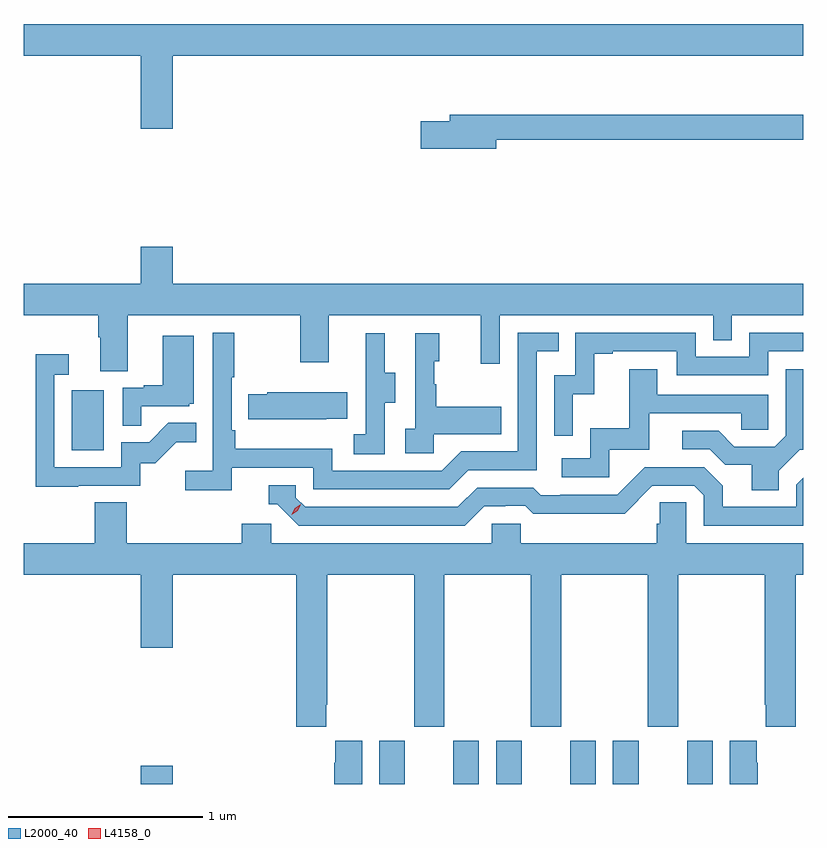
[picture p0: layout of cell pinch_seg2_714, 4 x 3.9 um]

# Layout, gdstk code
import gdstk
lib = gdstk.Library(unit=1e-6, precision=1e-09)
def R(c, l, rs):  # rectangles x0, y0, x1, y1
    for r in rs: c.add(gdstk.rectangle(r[:2], r[2:], *l))
def P(c, l, *ps):  # polygons
    for p in ps: c.add(gdstk.Polygon(p, *l))
L2000_40 = (2000, 40)
L4158_0 = (4158, 0)

pinch_seg2_714 = lib.new_cell('pinch_seg2_714')
R(pinch_seg2_714, L2000_40, [(1112.06,601.275,1112.224,601.369), (1113.284,601.275,1113.415,601.498), (1113.665,601.275,1113.796,601.498), (1113.884,601.275,1114.015,601.498), (1114.265,601.275,1114.396,601.498), (1114.484,601.275,1114.615,601.498), (1114.865,601.275,1114.996,601.498), (1111.706,602.988,1111.87,603.295)])
P(pinch_seg2_714, L2000_40, [(1112.224,605.012),(1115.46,605.012),(1115.46,605.176),(1111.46,605.176),(1111.46,605.012),(1112.06,605.012),(1112.06,604.638),(1112.224,604.638)],
  [(1113.886,604.582),(1115.46,604.582),(1115.46,604.711),(1113.647,604.711),(1113.647,604.677),(1113.498,604.677),(1113.498,604.535),(1113.886,604.535)],
  [(1111.993,603.68),(1112.878,603.68),(1112.878,603.441),(1113.025,603.441),(1113.025,603.68),(1113.806,603.68),(1113.806,603.432),(1113.903,603.432),(1113.903,603.68),(1114.998,603.68),(1114.998,603.553),(1115.094,603.553),(1115.094,603.68),(1115.46,603.68),(1115.46,603.844),(1112.224,603.844),(1112.224,604.033),(1112.06,604.033),(1112.06,603.844),(1111.46,603.844),(1111.46,603.68),(1111.841,603.68),(1111.841,603.568),(1111.853,603.568),(1111.853,603.394),(1111.993,603.394)],
  [(1112.528,602.898),(1112.946,602.898),(1112.946,602.787),(1113.643,602.787),(1113.742,602.886),(1114.092,602.886),(1114.092,603.495),(1114.205,603.495),(1114.205,603.591),(1113.996,603.591),(1113.996,602.982),(1113.705,602.982),(1113.606,602.883),(1113.042,602.883),(1113.042,602.995),(1112.546,602.995),(1112.546,603.091),(1112.526,603.091),(1112.526,603.364),(1112.539,603.364),(1112.539,603.592),(1112.43,603.592),(1112.43,602.884),(1112.289,602.884),(1112.289,602.782),(1112.528,602.782)],
  [(1114.278,603.275),(1114.388,603.275),(1114.388,603.483),(1114.483,603.483),(1114.483,603.495),(1114.812,603.495),(1114.812,603.372),(1115.28,603.372),(1115.28,603.495),(1115.46,603.495),(1115.46,603.591),(1115.184,603.591),(1115.184,603.468),(1114.908,603.468),(1114.908,603.591),(1114.29,603.591),(1114.29,603.372),(1114.182,603.372),(1114.182,603.063),(1114.278,603.063)],
  [(1113.564,603.071),(1113.911,603.071),(1113.911,603.211),(1113.577,603.211),(1113.577,603.326),(1113.567,603.326),(1113.567,603.444),(1113.592,603.444),(1113.592,603.589),(1113.468,603.589),(1113.468,603.098),(1113.417,603.098),(1113.417,602.973),(1113.564,602.973)],
  [(1113.312,603.232),(1113.367,603.232),(1113.367,603.387),(1113.313,603.387),(1113.313,603.589),(1113.215,603.589),(1113.215,603.375),(1113.216,603.375),(1113.216,603.071),(1113.153,603.071),(1113.153,602.968),(1113.312,602.968)],
  [(1112.063,603.213),(1112.31,603.213),(1112.31,603.228),(1112.332,603.228),(1112.332,603.577),(1112.174,603.577),(1112.174,603.322),(1112.075,603.322),(1112.075,603.309),(1111.968,603.309),(1111.968,603.115),(1112.063,603.115)],
  [(1111.739,602.805),(1112.058,602.805),(1112.058,602.922),(1112.134,602.922),(1112.241,603.029),(1112.345,603.029),(1112.345,603.128),(1112.201,603.128),(1112.103,603.03),(1111.959,603.03),(1111.959,602.901),(1111.617,602.901),(1111.617,603.375),(1111.69,603.375),(1111.69,603.481),(1111.521,603.481),(1111.521,602.8),(1111.739,602.8)],
  [(1114.464,602.991),(1114.669,602.991),(1114.669,603.177),(1115.143,603.177),(1115.143,603.093),(1115.28,603.093),(1115.28,603.273),(1114.711,603.273),(1114.711,603.403),(1114.567,603.403),(1114.567,603.1),(1114.368,603.1),(1114.368,602.946),(1114.221,602.946),(1114.221,602.85),(1114.464,602.85)],
  [(1115.335,602.884),(1115.442,602.991),(1115.46,602.991),(1115.46,603.403),(1115.37,603.403),(1115.37,603.063),(1115.313,603.006),(1115.107,603.006),(1115.026,603.087),(1114.839,603.087),(1114.839,602.994),(1114.98,602.994),(1115.06,602.914),(1115.195,602.914),(1115.195,602.782),(1115.335,602.782)],
  [(1113.011,603.149),(1113.119,603.149),(1113.119,603.286),(1112.709,603.286),(1112.709,603.276),(1112.611,603.276),(1112.611,603.146),(1113.011,603.146)],
  [(1113.823,602.7),(1113.93,602.7),(1113.93,602.703),(1114.033,602.703),(1114.075,602.661),(1114.308,602.661),(1114.308,602.663),(1114.544,602.663),(1114.686,602.805),(1114.902,602.805),(1114.95,602.757),(1114.95,602.601),(1115.46,602.601),(1115.46,602.847),(1115.424,602.811),(1115.424,602.697),(1115.047,602.697),(1115.047,602.807),(1114.953,602.901),(1114.647,602.901),(1114.506,602.76),(1114.213,602.76),(1114.213,602.757),(1114.114,602.757),(1114.075,602.796),(1113.786,602.796),(1113.687,602.697),(1112.904,602.697),(1112.856,602.745),(1112.856,602.808),(1112.717,602.808),(1112.717,602.712),(1112.76,602.712),(1112.871,602.601),(1113.724,602.601)],
  [(1113.013,601.681),(1113.018,601.681),(1113.018,602.348),(1113.463,602.348),(1113.463,601.569),(1113.618,601.569),(1113.618,602.348),(1114.063,602.348),(1114.063,601.569),(1114.218,601.569),(1114.218,602.348),(1114.663,602.348),(1114.663,601.569),(1114.818,601.569),(1114.818,602.348),(1115.263,602.348),(1115.263,601.681),(1115.267,601.681),(1115.267,601.569),(1115.423,601.569),(1115.423,602.348),(1115.46,602.348),(1115.46,602.512),(1114.86,602.512),(1114.86,602.72),(1114.723,602.72),(1114.723,602.61),(1114.709,602.61),(1114.709,602.512),(1114.011,602.512),(1114.011,602.61),(1113.861,602.61),(1113.861,602.512),(1112.73,602.512),(1112.73,602.61),(1112.579,602.61),(1112.579,602.512),(1111.988,602.512),(1111.988,602.72),(1111.823,602.72),(1111.823,602.512),(1111.46,602.512),(1111.46,602.348),(1112.06,602.348),(1112.06,601.974),(1112.224,601.974),(1112.224,602.348),(1112.858,602.348),(1112.858,601.569),(1113.013,601.569)],
  [(1115.228,601.385),(1115.221,601.385),(1115.221,601.498),(1115.084,601.498),(1115.084,601.275),(1115.228,601.275)],
  [(1113.196,601.498),(1113.059,601.498),(1113.059,601.385),(1113.053,601.385),(1113.053,601.275),(1113.196,601.275)])
P(pinch_seg2_714, L4158_0, [(1112.834,602.658),(1112.834,602.658),(1112.85,602.69),(1112.881,602.71),(1112.881,602.71),(1112.881,602.71),(1112.865,602.677),(1112.834,602.658)])

lib.write_gds('pinch_seg2_714.gds')
